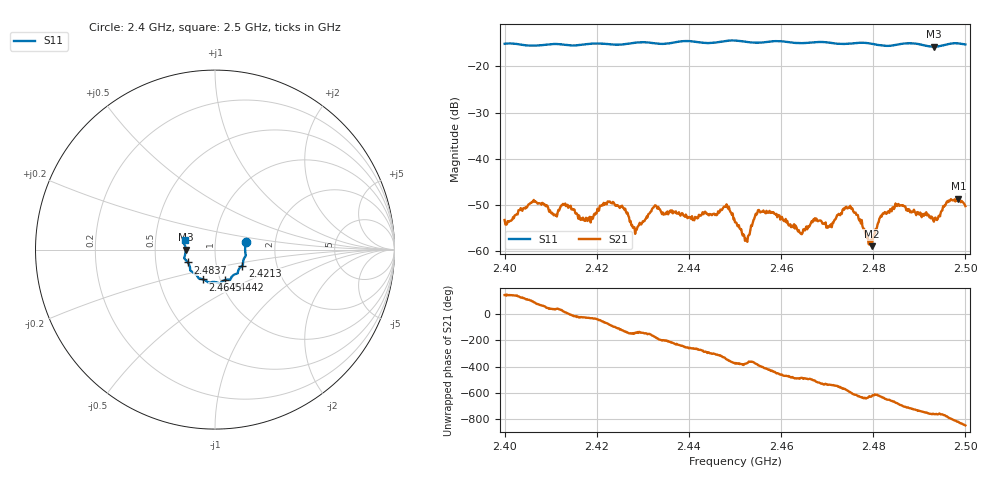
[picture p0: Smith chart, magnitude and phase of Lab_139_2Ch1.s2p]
# Hz S RI R 50
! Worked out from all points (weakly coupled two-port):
!   601 points, 2.4 GHz to 2.5 GHz, reference 50 ohm
!   highest |S21| = -48.65 dB at 2.4985 GHz (marker M1); lowest = -58.9 dB at 2.4797 GHz (marker M2)
!   lowest |S11| = -15.7 dB at 2.4932 GHz (marker M3), VSWR 1.39, Z = 36 - j0.0514 ohm
!   |S11| at or under -10 dB: start of sweep to end of sweep
!   S12 and S22 are empty: the file has one direction only
!   S11 on the Smith chart (normalised r, x): 2.4 GHz: 1.41, +0.12; 2.4213 GHz: 1.33, -0.25; 2.4442 GHz: 1.05, -0.37; 2.4645 GHz: 0.83, -0.29; 2.4837 GHz: 0.73, -0.11; 2.5 GHz: 0.71, +0.07
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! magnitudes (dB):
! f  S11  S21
! 2.4 GHz  -15.1  -53.2
! 2.4065 GHz  -15.5  -49.3
! 2.4167 GHz  -15.3  -52.9
! 2.4213 GHz  -15.1  -50.1
! 2.4257 GHz  -15.2  -50.6
! 2.4283 GHz  -14.9  -56.2
! 2.4333 GHz  -15.1  -50.4
! 2.4442 GHz  -15.0  -52.1
! 2.4482 GHz  -14.5  -49.8
! 2.45 GHz  -14.4  -53.7
! 2.4522 GHz  -14.6  -57.7
! 2.4555 GHz  -14.8  -51.6
! 2.4645 GHz  -15.0  -56.3
! 2.4667 GHz  -14.8  -53.5
! 2.4705 GHz  -14.9  -54.5
! 2.475 GHz  -15.1  -50.2
! 2.4797 GHz  -15.1  -58.9
! 2.4833 GHz  -15.6  -51.4
! 2.4837 GHz  -15.5  -50.9
! 2.4932 GHz  -15.7  -53.6
! 2.4985 GHz  -15.0  -48.6
! 2.5 GHz  -15.2  -50.2
